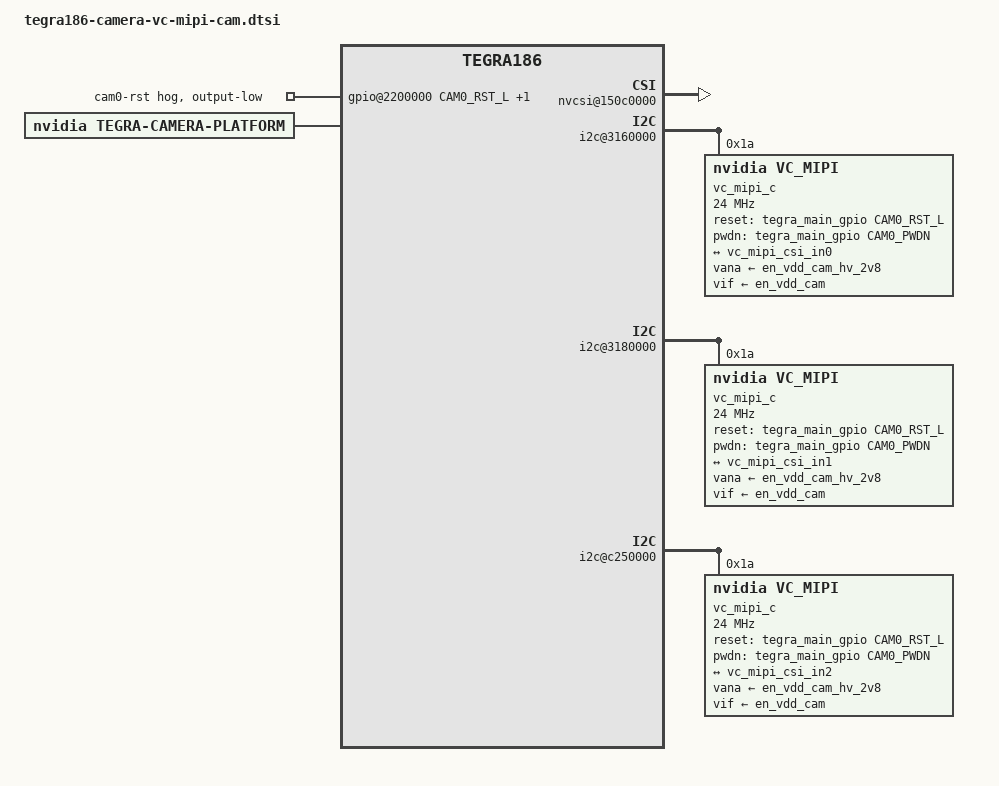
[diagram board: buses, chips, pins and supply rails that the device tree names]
/*
 * Copyright (c) 2015-2016, NVIDIA CORPORATION.  All rights reserved.
 *
 * This program is free software; you can redistribute it and/or modify
 * it under the terms of the GNU General Public License as published by
 * the Free Software Foundation; either version 2 of the License, or
 * (at your option) any later version.
 *
 * This program is distributed in the hope that it will be useful, but WITHOUT
 * ANY WARRANTY; without even the implied warranty of MERCHANTABILITY or
 * FITNESS FOR A PARTICULAR PURPOSE.  See the GNU General Public License for
 * more details.
 *
 * You should have received a copy of the GNU General Public License
 * along with this program.  If not, see <http://www.gnu.org/licenses/>.
 */

//#define PIXEL_TYPE      1   /* CCC - pixel type : 0=Y10 (gray), 1=RG10 (color) */
//#define NUM_LANES       2   /* CCC - number of lanes: 2 or 4 */
//#define EXT_TRIG_MODE  "1"  /* CCC - imx183.dtsi - external trigger mode: 0=off, 1=ext.trigger, 4=ext.trig test */

// #include <dt-bindings/media/camera.h>
// #include <dt-bindings/platform/t210/t210.h>


#include "dt-bindings/clock/tegra186-clock.h"
#define CAM0_RST_L  TEGRA_MAIN_GPIO(R, 5)
#define CAM0_PWDN   TEGRA_MAIN_GPIO(R, 0)

#define COLOR_SENSOR   1                /* CCC - color sensor: 0=no, 1=yes */
#if COLOR_SENSOR
  #define PIXEL_TYPE_08  "bayer_rggb8"  /* 8-bit color pixel type  : V4L2_PIX_FMT_SRGGB8  'RGGB'  */
  #define PIXEL_TYPE_10  "bayer_rggb"   /* 10-bit color pixel type : V4L2_PIX_FMT_SRGGB10 'RG10'  */
  #define PIXEL_TYPE_12  "bayer_rggb12" /* 12-bit color pixel type : V4L2_PIX_FMT_SRGGB12 'RG12'  */
#else
  #define PIXEL_TYPE_08  "gray"         /* 8-bit grayscale pixel type  : V4L2_PIX_FMT_GREY 'GREY' */
  #define PIXEL_TYPE_10  "y10"          /* 10-bit grayscale pixel type : V4L2_PIX_FMT_Y10  'Y10 ' */
  #define PIXEL_TYPE_12  "y12"          /* 12-bit grayscale pixel type : V4L2_PIX_FMT_Y12  'Y12 ' */
#endif

#define BUS_WIDTH     2              /* CCC - bus width: 1, 2 or 4 */
#define INT_NUM_LANES 2             
#define NUM_LANES     "2" /* CCC - number of lanes (== bus width): 1, 2 or 4 */
#define FLASH_OUTPUT  "1"           /* CCC - flash output enable: "0"=off, "1"=on */
#define PIX_CLK_HZ    "801907200"   // "800000000"

#define ACTIVE_W          "5440"
#define ACTIVE_H          "3648"    // rev < 9: "3690"
#define LINE_LENGTH       "6000"

#define CROP_DX           "5440"
#define CROP_DY           "1280"

#define MIN_GAIN_VAL      "0"
#define MAX_GAIN_VAL      "1957"
#define DEFAULT_GAIN      "16"

#define MIN_EXP_TIME      "160"
#define MAX_EXP_TIME      "10000000"
#define DEFAULT_EXP_TIME  "10000"

#define MIN_FRAMERATE     "1"
#define MAX_FRAMERATE     "20"
#define DEFAULT_FRAMERATE "20"

#define EMBEDDED_METADATA_HEIGHT "0"
#define VC_MIPI_METADATA_H  "0"





/*
I2C Busses:

aliases:
i2c0 = "/i2c@3160000";
i2c1 = "/i2c@c240000";
i2c2 = "/i2c@3180000";
i2c3 = "/i2c@3190000";
i2c4 = "/i2c@31a0000";
i2c5 = "/i2c@31b0000";
i2c6 = "/i2c@31c0000";
i2c7 = "/i2c@c250000";
i2c8 = "/i2c@31e0000";
*/

/ {

    gpio@2200000 {
        camera-control-output-low {
            status = "okay";
            gpio-hog;
            output-low;
            gpios = <CAM0_RST_L 0 CAM0_PWDN 0>;
            label = "cam0-rst", "cam0-pwdn";
        };
    };

    host1x {
        vi@15700000 {
            status = "okay";
            num-channels = <6>;
            ports {
                #address-cells = <1>;
                #size-cells = <0>;
                port@0 {
                    reg = <0>;
                    status = "okay";
                    vc_mipi_vi_in0: endpoint {
                        port-index = <0>;         // CSI-C ?? CSI-2
                        bus-width = <INT_NUM_LANES>;
                        remote-endpoint = <&vc_mipi_csi_out0>;
                    };
                };
                port@1 {
                    reg = <1>;
                    status = "okay";
                    vc_mipi_vi_in1: endpoint {
                        port-index = <2>;         // CSI-C ?? CSI-2
                        bus-width = <INT_NUM_LANES>;
                        remote-endpoint = <&vc_mipi_csi_out1>;
                    };
                };
                port@2 {
                    reg = <2>;
                    status = "okay";
                    vc_mipi_vi_in2: endpoint {
                        port-index = <4>;         // CSI-C ?? CSI-2
                        bus-width = <INT_NUM_LANES>;
                        remote-endpoint = <&vc_mipi_csi_out2>;
                    };
                };
            };
        };

        nvcsi@150c0000 {
            num-channels = <3>;
            #address-cells = <1>;
            #size-cells = <0>;
            status = "okay";
            channel@0 {
                reg = <0>;
                ports {
                    #address-cells = <1>;
                    #size-cells = <0>;
                    port@0 {
                        reg = <0>;
                        vc_mipi_csi_in0: endpoint@0 {
                            status = "okay";
                            port-index = <0>;
                            bus-width = <INT_NUM_LANES>;
                            remote-endpoint = <&vc_mipi_out0>;
                        };
                    };
                    port@1 {
                        reg = <1>;
                        vc_mipi_csi_out0: endpoint@1 {
                            status = "okay";
                            remote-endpoint = <&vc_mipi_vi_in0>;
                        };
                    };
                };
            };
            channel@1 {
                reg = <1>;
                ports {
                    #address-cells = <1>;
                    #size-cells = <0>;
                    port@0 {
                        reg = <0>;
                        vc_mipi_csi_in1: endpoint@2 {
                            status = "okay";
                            port-index = <2>;
                            bus-width = <INT_NUM_LANES>;
                            remote-endpoint = <&vc_mipi_out1>;
                        };
                    };
                    port@1 {
                        reg = <1>;
                        vc_mipi_csi_out1: endpoint@3 {
                            status = "okay";
                            remote-endpoint = <&vc_mipi_vi_in1>;
                        };
                    };
                };
            };
            channel@2 {
                reg = <2>;
                ports {
                    #address-cells = <1>;
                    #size-cells = <0>;
                    port@0 {
                        reg = <0>;
                        vc_mipi_csi_in2: endpoint@4 {
                            status = "okay";
                            port-index = <4>;
                            bus-width = <INT_NUM_LANES>;
                            remote-endpoint = <&vc_mipi_out2>;
                        };
                    };
                    port@1 {
                        reg = <1>;
                        vc_mipi_csi_out2: endpoint@5 {
                            status = "okay";
                            remote-endpoint = <&vc_mipi_vi_in2>;
                        };
                    };
                };
            };
        };
    };

    i2c@3160000 {
        status = "okay";
//        #address-cells = <1>;
//        #size-cells = <0>;

        vc_mipi_c@1a {
            compatible = "nvidia,vc_mipi";
            status = "okay";

            reg = <0x1a>;           /* I2C device address */
            devnode = "video0";     /* V4L2 device node location */

            /* Define any required hw resources needed by driver */
            /* ie. clocks, io pins, power sources */
            /* mclk-index indicates the index of the */
            /* mclk-name with in the clock-names array */

            clocks = <&tegra_car TEGRA186_CLK_EXTPERIPH1>,
                     <&tegra_car TEGRA186_CLK_PLLP_OUT0>;
            clock-names = "extperiph1", "pllp_grtba";
            clock-frequency = <24000000>;
            mclk = "extperiph1";
            reset-gpios = <&tegra_main_gpio CAM0_RST_L GPIO_ACTIVE_HIGH>;
            pwdn-gpios = <&tegra_main_gpio CAM0_PWDN GPIO_ACTIVE_HIGH>;
            vana-supply = <&en_vdd_cam_hv_2v8>;
            vif-supply = <&en_vdd_cam>;


            /* Physical dimensions of sensor */
            physical_w = "3.674";
            physical_h = "2.738";
            sensor_model ="vc_mipi";

            /* Sensor output flip settings */
            vertical-flip = "true";
            flash-output = "1";

            // '0: disabled', '1: external', '2: pulsewidth', '3: self', '4: single', '5: sync', '6: stream_edge', '7: stream_level
            trigger_mode            = "0";
            //  '0: disabled', '1: flash active high', '2: flash active low', '3: trigger active low', '4: trigger active low and flash active high', '5: trigger and flash active low'
            io_mode                 = "0";

            mode0 {
                num_lanes                = NUM_LANES;
                tegra_sinterface         = "serial_a";
                embedded_metadata_height = VC_MIPI_METADATA_H;
                readout_orientation      = "0";

                // ----------------------------------------------------
                // If you want to use GStreamer with nvarguscamerasrc
                // you have to adjust this settings. 
                active_l                 = "0";
                active_t                 = "0";
                active_w                 = "5440";
                active_h                 = "3648";
                pixel_t                  = "bayer_rggb12";

                min_gain_val             = "0";         // mdB
                max_gain_val             = "27000";     // mdB
                step_gain_val            = "26";        // mdB
                default_gain             = "0";         // mdB

                min_exp_time             = "1";         // us
                max_exp_time             = "1000000";   // us
                step_exp_time            = "1";         // us
                default_exp_time         = "10000";     // us

                min_framerate            = "0";         // mHz
                max_framerate            = "11200";     // mHz
                step_framerate           = "100";       // mHz
                default_framerate        = "11200";     // mHz
                // ----------------------------------------------------

                gain_factor              = "1000";
                exposure_factor          = "1000000";
                framerate_factor         = "1000";
                inherent_gain            = "1";
                min_hdr_ratio            = "1";
                max_hdr_ratio            = "1";

                line_length              = "0";
                phy_mode                 = "DPHY";
                discontinuous_clk        = "no";
                mclk_khz                 = "24000";
                pix_clk_hz               = "800000000";
                mclk_multiplier          = "9.33";
                cil_settletime           = "0";
                dpcm_enable              = "false";           
            };


            ports {
                #address-cells = <1>;
                #size-cells = <0>;

                port@0 {
                    reg = <0>;
                    vc_mipi_out0: endpoint {
                        port-index = <0>;
                        bus-width = <INT_NUM_LANES>;
                        remote-endpoint = <&vc_mipi_csi_in0>;
                    };
                };
            };
        };

    };


    i2c@3180000 {
        status = "okay";
//        #address-cells = <1>;
//        #size-cells = <0>;

        vc_mipi_c@1a {
            compatible = "nvidia,vc_mipi";
            status = "okay";

            reg = <0x1a>;           /* I2C device address */
            devnode = "video1";     /* V4L2 device node location */

            /* Define any required hw resources needed by driver */
            /* ie. clocks, io pins, power sources */
            /* mclk-index indicates the index of the */
            /* mclk-name with in the clock-names array */

            clocks = <&tegra_car TEGRA186_CLK_EXTPERIPH1>,
                     <&tegra_car TEGRA186_CLK_PLLP_OUT0>;
            clock-names = "extperiph1", "pllp_grtba";
            clock-frequency = <24000000>;
            mclk = "extperiph1";
            reset-gpios = <&tegra_main_gpio CAM0_RST_L GPIO_ACTIVE_HIGH>;
            pwdn-gpios = <&tegra_main_gpio CAM0_PWDN GPIO_ACTIVE_HIGH>;
            vana-supply = <&en_vdd_cam_hv_2v8>;
            vif-supply = <&en_vdd_cam>;
//            vdig-supply = <&en_vdd_cam_1v2>;        // digital 1.2v

//            avdd-reg = "vana";
//            iovdd-reg = "vif";
//            dvdd-reg = "vdig";

            /* Physical dimensions of sensor */
            physical_w = "3.674";
            physical_h = "2.738";
            sensor_model ="vc_mipi";

            /* Sensor output flip settings */
            vertical-flip = "true";
            flash-output = "1";

            // '0: disabled', '1: external', '2: pulsewidth', '3: self', '4: single', '5: sync', '6: stream_edge', '7: stream_level
            trigger_mode            = "0";
            //  '0: disabled', '1: flash active high', '2: flash active low', '3: trigger active low', '4: trigger active low and flash active high', '5: trigger and flash active low'
            io_mode                 = "0";

            mode0 {
                num_lanes                = NUM_LANES;
                tegra_sinterface         = "serial_c";
                embedded_metadata_height = VC_MIPI_METADATA_H;
                readout_orientation      = "0";

                // ----------------------------------------------------
                // If you want to use GStreamer with nvarguscamerasrc
                // you have to adjust this settings. 
                active_l                 = "0";
                active_t                 = "0";
                active_w                 = "5440";
                active_h                 = "3648";
                pixel_t                  = "bayer_rggb12";

                min_gain_val             = "0";         // mdB
                max_gain_val             = "27000";     // mdB
                step_gain_val            = "26";        // mdB
                default_gain             = "0";         // mdB

                min_exp_time             = "1";         // us
                max_exp_time             = "1000000";   // us
                step_exp_time            = "1";         // us
                default_exp_time         = "10000";     // us

                min_framerate            = "0";         // mHz
                max_framerate            = "11200";     // mHz
                step_framerate           = "100";       // mHz
                default_framerate        = "11200";     // mHz
                // ----------------------------------------------------

                gain_factor              = "1000";
                exposure_factor          = "1000000";
                framerate_factor         = "1000";
                inherent_gain            = "1";
                min_hdr_ratio            = "1";
                max_hdr_ratio            = "1";

                line_length              = "0";
                phy_mode                 = "DPHY";
                discontinuous_clk        = "no";
                mclk_khz                 = "24000";
                pix_clk_hz               = "800000000";
                mclk_multiplier          = "9.33";
                cil_settletime           = "0";
                dpcm_enable              = "false";           
            };

            ports {
                #address-cells = <1>;
                #size-cells = <0>;

                port@0 {
                    reg = <0>;
                    vc_mipi_out1: endpoint {
                        port-index = <0>;
                        bus-width = <INT_NUM_LANES>;
                        remote-endpoint = <&vc_mipi_csi_in1>;
                    };
                };
            };
        };

    };



    i2c@c250000 {
        status = "okay";
//        #address-cells = <1>;
//        #size-cells = <0>;

        vc_mipi_c@1a {
            compatible = "nvidia,vc_mipi";
            status = "okay";

            reg = <0x1a>;           /* I2C device address */
            devnode = "video2";     /* V4L2 device node location */

            /* Define any required hw resources needed by driver */
            /* ie. clocks, io pins, power sources */
            /* mclk-index indicates the index of the */
            /* mclk-name with in the clock-names array */

            clocks = <&tegra_car TEGRA186_CLK_EXTPERIPH1>,
                     <&tegra_car TEGRA186_CLK_PLLP_OUT0>;
            clock-names = "extperiph1", "pllp_grtba";
            clock-frequency = <24000000>;
            mclk = "extperiph1";
            reset-gpios = <&tegra_main_gpio CAM0_RST_L GPIO_ACTIVE_HIGH>;
            pwdn-gpios = <&tegra_main_gpio CAM0_PWDN GPIO_ACTIVE_HIGH>;
            vana-supply = <&en_vdd_cam_hv_2v8>;
            vif-supply = <&en_vdd_cam>;
//            vdig-supply = <&en_vdd_cam_1v2>;        // digital 1.2v

//            avdd-reg = "vana";
//            iovdd-reg = "vif";
//            dvdd-reg = "vdig";

            /* Physical dimensions of sensor */
            physical_w = "3.674";
            physical_h = "2.738";
            sensor_model ="vc_mipi";

            /* Sensor output flip settings */
            vertical-flip = "true";
            flash-output = "1";

            // '0: disabled', '1: external', '2: pulsewidth', '3: self', '4: single', '5: sync', '6: stream_edge', '7: stream_level
            trigger_mode            = "0";
            //  '0: disabled', '1: flash active high', '2: flash active low', '3: trigger active low', '4: trigger active low and flash active high', '5: trigger and flash active low'
            io_mode                 = "0";

            mode0 {
                num_lanes                = NUM_LANES;
                tegra_sinterface         = "serial_e";
                embedded_metadata_height = VC_MIPI_METADATA_H;
                readout_orientation      = "0";

                // ----------------------------------------------------
                // If you want to use GStreamer with nvarguscamerasrc
                // you have to adjust this settings. 
                active_l                 = "0";
                active_t                 = "0";
                active_w                 = "5440";
                active_h                 = "3648";
                pixel_t                  = "bayer_rggb12";

                min_gain_val             = "0";         // mdB
                max_gain_val             = "27000";     // mdB
                step_gain_val            = "26";        // mdB
                default_gain             = "0";         // mdB

                min_exp_time             = "1";         // us
                max_exp_time             = "1000000";   // us
                step_exp_time            = "1";         // us
                default_exp_time         = "10000";     // us

                min_framerate            = "0";         // mHz
                max_framerate            = "11200";     // mHz
                step_framerate           = "100";       // mHz
                default_framerate        = "11200";     // mHz
                // ----------------------------------------------------

                gain_factor              = "1000";
                exposure_factor          = "1000000";
                framerate_factor         = "1000";
                inherent_gain            = "1";
                min_hdr_ratio            = "1";
                max_hdr_ratio            = "1";

                line_length              = "0";
                phy_mode                 = "DPHY";
                discontinuous_clk        = "no";
                mclk_khz                 = "24000";
                pix_clk_hz               = "800000000";
                mclk_multiplier          = "9.33";
                cil_settletime           = "0";
                dpcm_enable              = "false";           
            };

            ports {
                #address-cells = <1>;
                #size-cells = <0>;

                port@0 {
                    reg = <0>;
                    vc_mipi_out2: endpoint {
                        port-index = <4>;
                        bus-width = <INT_NUM_LANES>;
                        remote-endpoint = <&vc_mipi_csi_in2>;
                    };
                };
            };
        };


    };

    tegra-camera-platform {
        compatible = "nvidia, tegra-camera-platform";
        /**
        * Physical settings to calculate max ISO BW
        *
        * num_csi_lanes = <>;
        * Total number of CSI lanes when all cameras are active
        *
        * max_lane_speed = <>;
        * Max lane speed in Kbit/s
        *
        * min_bits_per_pixel = <>;
        * Min bits per pixel
        *
        * vi_peak_byte_per_pixel = <>;
        * Max byte per pixel for the VI ISO case
        *
        * vi_bw_margin_pct = <>;
        * Vi bandwidth margin in percentage
        *
        * max_pixel_rate = <>;
        * Max pixel rate in Kpixel/s for the ISP ISO case
        *
        * isp_peak_byte_per_pixel = <>;
        * Max byte per pixel for the ISP ISO case
        *
        * isp_bw_margin_pct = <>;
        * Isp bandwidth margin in percentage
        */
        num_csi_lanes = <4>;
        max_lane_speed = <1500000>;
//        min_bits_per_pixel = <10>;
        min_bits_per_pixel = <8>;
        vi_peak_byte_per_pixel = <2>;
        vi_bw_margin_pct = <25>;
        max_pixel_rate = <750000>;
        isp_peak_byte_per_pixel = <2>;
        isp_bw_margin_pct = <25>;

//        tpg_max_iso = <0x3bc400>;

        /**
        * The general guideline for naming badge_info contains 3 parts, and is as follows,
        * The first part is the camera_board_id for the module; if the module is in a FFD
        * platform, then use the platform name for this part.
        * The second part contains the position of the module, ex. "rear" or "front".
        * The third part contains the last 6 characters of a part number which is found
        * in the module's specsheet from the vender.
        */
        modules {
            module0 {
                status = "okay";
                badge = "vc_mipi_front_P5V27C";
                position = "rear";
                orientation = "1";
                drivernode0 {
                    status = "okay";
                    pcl_id = "v4l2_sensor";     /* Declare PCL support driver (classically known as guid)  */
                    devname = "vc_mipi 2-001a";  /* Driver v4l2 device name */
                    /* Declare the device-tree hierarchy to driver instance */
                    proc-device-tree = "/proc/device-tree/i2c@3160000/vc_mipi_c@1a";
                };
            };
        };
    };
};
